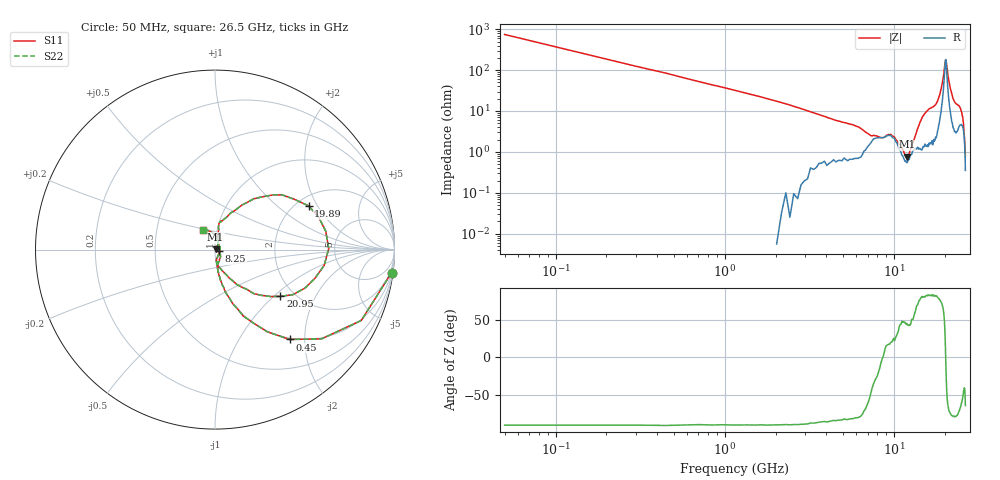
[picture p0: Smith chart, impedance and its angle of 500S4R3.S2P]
!  American Technical Ceramics  Date:  3/6/98
!  One Norden Lane
!  Huntington Station,  NY.  11746-2102
!  Tel:  (516) 547-5700  Fax:  (516) 547-5748
!  Part Number  500S4R3
!  Description: Broadband Microwave capacitor
!  Application:
# GHZ S DB R 50
! Freq  |S11|  S11 Ph  |S21|  S21 Ph  |S12|  S12 Ph  |S22|  S22 Ph
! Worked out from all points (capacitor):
!   201 points, 50 MHz to 26.5 GHz, reference 50 ohm
!   read as one part in series: C = 4.25 pF near 180 MHz
!   lowest |Z| = 765 mohm at 11.95 GHz (marker M1)
!   series resonance near 8.636 GHz, so ESL is about 80 pH
!   S11 on the Smith chart (normalised r, x): 50 MHz: 1, -15; 450 MHz: 0.97, -1.69; 8.25 GHz: 1.05, -0.02; 19.89 GHz: 2.32, +1.69; 20.95 GHz: 1.69, -1.10; 26.5 GHz: 0.85, +0.19
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0.05  -0.07 -7.5  -17.52 83.0  -17.52 83.0  -0.07 -7.5
0.18  -0.86 -25.8  -7.22 64.5  -7.22 64.5  -0.86 -25.8
0.45  -3.73 -50.3  -2.27 40.4  -2.27 40.4  -3.73 -50.3
1.5  -12.53 -76.7  -0.24 13.6  -0.24 13.6  -12.53 -76.7
4.55  -22.83 -81.0  -0.05 2.6  -0.05 2.6  -22.83 -81.0
6.27  -24.10 -82.6  -0.08 0.8  -0.08 0.8  -24.10 -82.6
8.25  -32.13 -22.7  -0.18 0.1  -0.18 0.1  -32.13 -22.7
8.91  -31.99 18.3  -0.19 -0.1  -0.19 -0.1  -31.99 18.3
10.89  -33.96 65.3  -0.12 -0.1  -0.12 -0.1  -33.96 65.3
11.29  -37.45 69.8  -0.10 -0.2  -0.10 -0.2  -37.45 69.8
11.95  -50.01 27.6  -0.07 -0.5  -0.07 -0.5  -50.01 27.6
13.28  -33.68 44.2  -0.08 -1.3  -0.08 -1.3  -33.68 44.2
14.99  -19.87 79.2  -0.15 -3.0  -0.15 -3.0  -19.87 79.2
17.77  -15.75 76.6  -0.33 -6.9  -0.33 -6.9  -15.75 76.6
19.09  -9.86 55.4  -1.29 -16.9  -1.29 -16.9  -9.86 55.4
19.89  -4.80 25.1  -5.35 -25.1  -5.35 -25.1  -4.80 25.1
20.28  -3.96 0.5  -9.08 4.4  -9.08 4.4  -3.96 0.5
20.95  -6.98 -35.6  -3.27 30.4  -3.27 30.4  -6.98 -35.6
22.14  -15.94 -65.1  -0.82 16.9  -0.82 16.9  -15.94 -65.1
24.25  -23.29 -69.1  -0.63 10.6  -0.63 10.6  -23.29 -69.1
25.05  -30.89 1.7  -0.56 9.9  -0.56 9.9  -30.89 1.7
26.5  -17.64 121.8  -0.61 7.8  -0.61 7.8  -17.64 121.8
